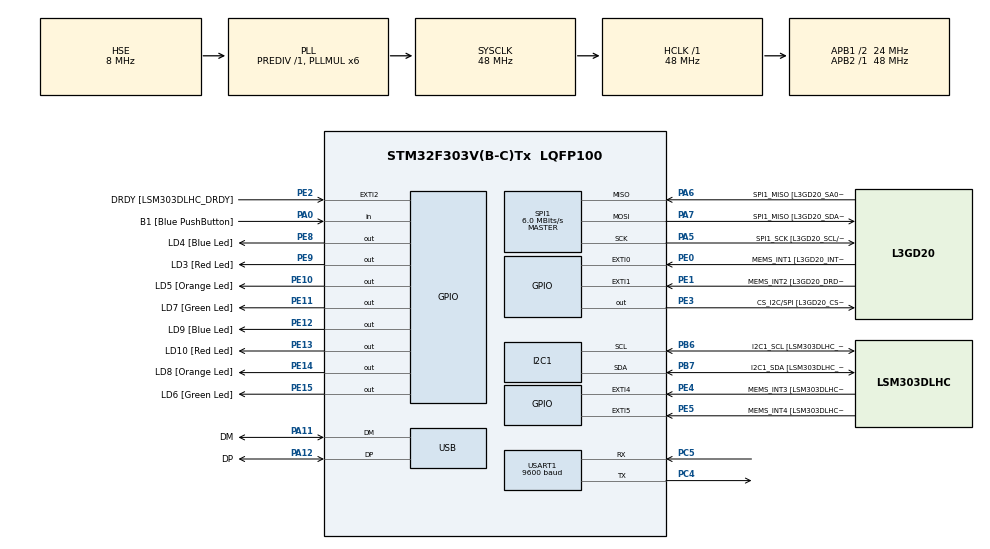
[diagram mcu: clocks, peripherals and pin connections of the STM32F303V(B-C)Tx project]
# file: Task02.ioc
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I2C1.Timing=0x2000090E
I2C1.Timing-I2C=0x2000090E
Mcu.Family=STM32F3
Mcu.Name=STM32F303V(B-C)Tx
Mcu.Package=LQFP100
NVIC.PriorityGroup=NVIC_PRIORITYGROUP_0
NVIC.SPI1_IRQn=true\:0\:0\:false\:false\:true\:true\:true\:true
NVIC.USB_LP_CAN_RX0_IRQn=true\:0\:0\:false\:false\:true\:false\:true\:true
PA0.GPIO_Label=B1 [Blue PushButton]
PA0.Signal=GPIO_Input
PA11.GPIO_Label=DM
PA11.Mode=Device
PA11.Signal=USB_DM
PA12.GPIO_Label=DP
PA12.Mode=Device
PA12.Signal=USB_DP
PA13.GPIO_Label=SWDIO
PA13.Mode=Serial_Wire
PA13.Signal=SYS_JTMS-SWDIO
PA14.GPIO_Label=SWCLK
PA14.Mode=Serial_Wire
PA14.Signal=SYS_JTCK-SWCLK
PA5.GPIO_Label=SPI1_SCK [L3GD20_SCL/SPC]
PA5.Mode=Full_Duplex_Master
PA5.Signal=SPI1_SCK
PA6.GPIO_Label=SPI1_MISO [L3GD20_SA0/SDO]
PA6.Mode=Full_Duplex_Master
PA6.Signal=SPI1_MISO
PA7.GPIO_Label=SPI1_MISO [L3GD20_SDA/SDI/SDO]
PA7.Mode=Full_Duplex_Master
PA7.Signal=SPI1_MOSI
PB3.GPIO_Label=SWO
PB3.Signal=SYS_JTDO-TRACESWO
PB6.GPIO_Label=I2C1_SCL [LSM303DLHC_SCL]
PB6.GPIO_Pu=GPIO_PULLUP
PB6.Mode=I2C
PB6.Signal=I2C1_SCL
PB7.GPIO_Label=I2C1_SDA [LSM303DLHC_SDA]
PB7.GPIO_Pu=GPIO_PULLUP
PB7.Mode=I2C
PB7.Signal=I2C1_SDA
PC14-OSC32_IN.GPIO_Label=OSC32_IN
PC14-OSC32_IN.Signal=RCC_OSC32_IN
PC15-OSC32_OUT.GPIO_Label=OSC32_OUT
PC15-OSC32_OUT.Signal=RCC_OSC32_OUT
PC4.Mode=Asynchronous
PC4.Signal=USART1_TX
PC5.Mode=Asynchronous
PC5.Signal=USART1_RX
PE0.GPIO_Label=MEMS_INT1 [L3GD20_INT1]
PE0.GPIO_ModeDefaultEXTI=GPIO_MODE_EVT_RISING
PE0.Signal=GPXTI0
PE1.GPIO_Label=MEMS_INT2 [L3GD20_DRDY/INT2]
PE1.GPIO_ModeDefaultEXTI=GPIO_MODE_EVT_RISING
PE1.Signal=GPXTI1
PE10.GPIO_Label=LD5 [Orange Led]
PE10.Signal=GPIO_Output
PE11.GPIO_Label=LD7 [Green Led]
PE11.Signal=GPIO_Output
PE12.GPIO_Label=LD9 [Blue Led]
PE12.Signal=GPIO_Output
PE13.GPIO_Label=LD10 [Red Led]
PE13.Signal=GPIO_Output
PE14.GPIO_Label=LD8 [Orange Led]
PE14.Signal=GPIO_Output
PE15.GPIO_Label=LD6 [Green Led]
PE15.Signal=GPIO_Output
PE2.GPIO_Label=DRDY [LSM303DLHC_DRDY]
PE2.GPIO_ModeDefaultEXTI=GPIO_MODE_EVT_RISING
PE2.Signal=GPXTI2
PE3.GPIO_Label=CS_I2C/SPI [L3GD20_CS_I2C/SPI]
PE3.Signal=GPIO_Output
PE4.GPIO_Label=MEMS_INT3 [LSM303DLHC_INT1]
PE4.GPIO_ModeDefaultEXTI=GPIO_MODE_EVT_RISING
PE4.Signal=GPXTI4
PE5.GPIO_Label=MEMS_INT4 [LSM303DLHC_INT2]
PE5.GPIO_ModeDefaultEXTI=GPIO_MODE_EVT_RISING
PE5.Signal=GPXTI5
PE8.GPIO_Label=LD4 [Blue Led]
PE8.Signal=GPIO_Output
PE9.GPIO_Label=LD3 [Red Led]
PE9.Signal=GPIO_Output
PF0-OSC_IN.GPIO_Label=OSC_IN
PF0-OSC_IN.Mode=HSE-External-Clock-Source
PF0-OSC_IN.Signal=RCC_OSC_IN
PF1-OSC_OUT.GPIO_Label=OSC_OUT
PF1-OSC_OUT.Signal=RCC_OSC_OUT
ProjectManager.HeapSize=0x200
ProjectManager.StackSize=0x400
ProjectManager.TargetToolchain=CMake
RCC.AHBFreq_Value=48000000
RCC.APB1CLKDivider=RCC_HCLK_DIV2
RCC.APB1Freq_Value=24000000
RCC.APB1TimFreq_Value=48000000
RCC.APB2Freq_Value=48000000
RCC.APB2TimFreq_Value=48000000
RCC.CortexFreq_Value=48000000
RCC.HCLKFreq_Value=48000000
RCC.HSE_VALUE=8000000
RCC.HSI_VALUE=8000000
RCC.LSE_VALUE=32768
RCC.PLLMUL=RCC_PLL_MUL6
RCC.SYSCLKFreq_VALUE=48000000
RCC.SYSCLKSourceVirtual=RCC_SYSCLKSOURCE_PLLCLK
RCC.USBFreq_Value=48000000
SPI1.BaudRatePrescaler=SPI_BAUDRATEPRESCALER_8
SPI1.BaudRatePrescaler-Full_Duplex_Master=SPI_BAUDRATEPRESCALER_2
SPI1.CalculateBaudRate=6.0 MBits/s
SPI1.CalculateBaudRate-Full_Duplex_Master=24.0 MBits/s
SPI1.DataSize=SPI_DATASIZE_8BIT
SPI1.Direction=SPI_DIRECTION_2LINES
SPI1.Mode=SPI_MODE_MASTER
SPI1.Mode-Full_Duplex_Master=SPI_MODE_MASTER
SPI1.NSSPMode=SPI_NSS_PULSE_DISABLE
SPI1.VirtualType=VM_MASTER
USART1.BaudRate=9600
USART1.VirtualMode-Asynchronous=VM_ASYNC
USB_DEVICE.CLASS_NAME_FS=CDC
USB_DEVICE.VirtualMode=Cdc
USB_DEVICE.VirtualModeFS=Cdc_FS
VP_USB_DEVICE_VS_USB_DEVICE_CDC_FS.Mode=CDC_FS
board=STM32F3DISCOVERY

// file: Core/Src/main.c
/* USER CODE BEGIN Header */
/**
  ******************************************************************************
  * @file           : main.c
  * @brief          : Main program body
  ******************************************************************************
  * @attention
  *
  * Copyright (c) 2025 STMicroelectronics.
  * All rights reserved.
  *
  * This software is licensed under terms that can be found in the LICENSE file
  * in the root directory of this software component.
  * If no LICENSE file comes with this software, it is provided AS-IS.
  *
  ******************************************************************************
  */
/* USER CODE END Header */
#include "main.h"
#include "usb_device.h"

/* USER CODE BEGIN PM */

#define CTRL_REG1     0x20              // Address of CTRL_REG1 in the gyro
#define CTRL_REG1_VAL 0b00001111        // Value: PD=1 (Power on), Xen/Yen/Zen=1 (enable all 3 axes)

/* USER CODE END PM */

I2C_HandleTypeDef hi2c1;

SPI_HandleTypeDef hspi1;

UART_HandleTypeDef huart1;

/* USER CODE BEGIN PV */

uint8_t spi_tx_buf;                     // Transmit buffer for SPI (holds command byte)
uint8_t spi_rx_buf;                     // Receive buffer for SPI (holds incoming data)
volatile uint8_t spi_done = 0;         // Flag to indicate that SPI transfer is complete (used in main loop)

/* USER CODE END PV */

void SystemClock_Config(void);
static void MX_GPIO_Init(void);
static void MX_I2C1_Init(void);
static void MX_SPI1_Init(void);
static void MX_USART1_UART_Init(void);

/* USER CODE BEGIN 0 */

// Sensor initialization:
void gyro_init()
{
    uint8_t tx[2] = { CTRL_REG1, CTRL_REG1_VAL };

    // 1. Pull CS (Chip Select) low to begin SPI communication
    HAL_GPIO_WritePin(GPIOE, GPIO_PIN_3, GPIO_PIN_RESET);

    // 2. Transmit 2 bytes using SPI in blocking mode:
    //    - tx[0] = Register address (0x20)
    //    - tx[1] = Data to write (0x0F) => Enables axes and powers on sensor
    // HAL_SPI_Transmit blocks until the transfer completes.
    HAL_SPI_Transmit(&hspi1, tx, 2, HAL_MAX_DELAY);

    // 3. Pull CS high to end SPI communication
    HAL_GPIO_WritePin(GPIOE, GPIO_PIN_3, GPIO_PIN_SET);
}

void gyro_read_temp_IT(uint8_t reg)
{
    spi_done = 0;                          // Reset the transfer complete flag

    // Set bit 7 = 1 to indicate SPI read operation
    spi_tx_buf = 0x80 | reg;              // Example: 0x80 | 0x26 = 0xA6 for OUT_TEMP read

    // Pull CS low to start SPI communication
    HAL_GPIO_WritePin(GPIOE, GPIO_PIN_3, GPIO_PIN_RESET);

    // Begin SPI transmit of the register address in interrupt mode.
    // Once it completes, HAL will call HAL_SPI_TxCpltCallback().
    HAL_SPI_Transmit_IT(&hspi1, &spi_tx_buf, 1);
}

/* USER CODE END 0 */

int main(void)
{

  /* MCU Configuration--------------------------------------------------------*/

  /* Reset of all peripherals, Initializes the Flash interface and the Systick. */
  HAL_Init();

  /* Configure the system clock */
  SystemClock_Config();

  /* Initialize all configured peripherals */
  MX_GPIO_Init();
  MX_I2C1_Init();
  MX_SPI1_Init();
  MX_USART1_UART_Init();
  MX_USB_DEVICE_Init();

  /* USER CODE BEGIN 2 */

  gyro_init();  // One-time initialization to power on the gyro

  /* USER CODE END 2 */

  /* Infinite loop */
  /* USER CODE BEGIN WHILE */
  gyro_init();  // One-time initialization to power on the gyro

while (1)
{
    // Start reading the temperature register (0x26)
    gyro_read_temp_IT(0x26);

    // Wait for the interrupt-based SPI read to complete
    if (spi_done)
    {
        spi_done = 0;  // Reset for next loop

        // Convert the received byte to signed 8-bit temperature
        int8_t temperature = (int8_t)spi_rx_buf;

        // Format the temperature reading into a string
        char msg[32];
        sprintf(msg, "%d\r\n", temperature);

        // Transmit the string over UART1
        // HAL_UART_Transmit blocks until the full string is sent
        HAL_UART_Transmit(&huart1, (uint8_t *)msg, strlen(msg), HAL_MAX_DELAY);

        // Wait 1 second before next read
        HAL_Delay(1000);
    }
}

  /* USER CODE END 3 */
}

void SystemClock_Config(void)
{
  RCC_OscInitTypeDef RCC_OscInitStruct = {0};
  RCC_ClkInitTypeDef RCC_ClkInitStruct = {0};
  RCC_PeriphCLKInitTypeDef PeriphClkInit = {0};

  /** Initializes the RCC Oscillators according to the specified parameters
  * in the RCC_OscInitTypeDef structure.
  */
  RCC_OscInitStruct.OscillatorType = RCC_OSCILLATORTYPE_HSI|RCC_OSCILLATORTYPE_HSE;
  RCC_OscInitStruct.HSEState = RCC_HSE_BYPASS;
  RCC_OscInitStruct.HSEPredivValue = RCC_HSE_PREDIV_DIV1;
  RCC_OscInitStruct.HSIState = RCC_HSI_ON;
  RCC_OscInitStruct.HSICalibrationValue = RCC_HSICALIBRATION_DEFAULT;
  RCC_OscInitStruct.PLL.PLLState = RCC_PLL_ON;
  RCC_OscInitStruct.PLL.PLLSource = RCC_PLLSOURCE_HSE;
  RCC_OscInitStruct.PLL.PLLMUL = RCC_PLL_MUL6;
  if (HAL_RCC_OscConfig(&RCC_OscInitStruct) != HAL_OK)
  {
    Error_Handler();
  }

  /** Initializes the CPU, AHB and APB buses clocks
  */
  RCC_ClkInitStruct.ClockType = RCC_CLOCKTYPE_HCLK|RCC_CLOCKTYPE_SYSCLK
                              |RCC_CLOCKTYPE_PCLK1|RCC_CLOCKTYPE_PCLK2;
  RCC_ClkInitStruct.SYSCLKSource = RCC_SYSCLKSOURCE_PLLCLK;
  RCC_ClkInitStruct.AHBCLKDivider = RCC_SYSCLK_DIV1;
  RCC_ClkInitStruct.APB1CLKDivider = RCC_HCLK_DIV2;
  RCC_ClkInitStruct.APB2CLKDivider = RCC_HCLK_DIV1;

  if (HAL_RCC_ClockConfig(&RCC_ClkInitStruct, FLASH_LATENCY_1) != HAL_OK)
  {
    Error_Handler();
  }
  PeriphClkInit.PeriphClockSelection = RCC_PERIPHCLK_USB|RCC_PERIPHCLK_USART1
                              |RCC_PERIPHCLK_I2C1;
  PeriphClkInit.Usart1ClockSelection = RCC_USART1CLKSOURCE_PCLK2;
  PeriphClkInit.I2c1ClockSelection = RCC_I2C1CLKSOURCE_HSI;
  PeriphClkInit.USBClockSelection = RCC_USBCLKSOURCE_PLL;
  if (HAL_RCCEx_PeriphCLKConfig(&PeriphClkInit) != HAL_OK)
  {
    Error_Handler();
  }
}

static void MX_I2C1_Init(void)
{

  hi2c1.Instance = I2C1;
  hi2c1.Init.Timing = 0x2000090E;
  hi2c1.Init.OwnAddress1 = 0;
  hi2c1.Init.AddressingMode = I2C_ADDRESSINGMODE_7BIT;
  hi2c1.Init.DualAddressMode = I2C_DUALADDRESS_DISABLE;
  hi2c1.Init.OwnAddress2 = 0;
  hi2c1.Init.OwnAddress2Masks = I2C_OA2_NOMASK;
  hi2c1.Init.GeneralCallMode = I2C_GENERALCALL_DISABLE;
  hi2c1.Init.NoStretchMode = I2C_NOSTRETCH_DISABLE;
  if (HAL_I2C_Init(&hi2c1) != HAL_OK)
  {
    Error_Handler();
  }

  /** Configure Analogue filter
  */
  if (HAL_I2CEx_ConfigAnalogFilter(&hi2c1, I2C_ANALOGFILTER_ENABLE) != HAL_OK)
  {
    Error_Handler();
  }

  /** Configure Digital filter
  */
  if (HAL_I2CEx_ConfigDigitalFilter(&hi2c1, 0) != HAL_OK)
  {
    Error_Handler();
  }

}

static void MX_SPI1_Init(void)
{

  /* SPI1 parameter configuration*/
  hspi1.Instance = SPI1;
  hspi1.Init.Mode = SPI_MODE_MASTER;
  hspi1.Init.Direction = SPI_DIRECTION_2LINES;
  hspi1.Init.DataSize = SPI_DATASIZE_8BIT;
  hspi1.Init.CLKPolarity = SPI_POLARITY_LOW;
  hspi1.Init.CLKPhase = SPI_PHASE_1EDGE;
  hspi1.Init.NSS = SPI_NSS_SOFT;
  hspi1.Init.BaudRatePrescaler = SPI_BAUDRATEPRESCALER_8;
  hspi1.Init.FirstBit = SPI_FIRSTBIT_MSB;
  hspi1.Init.TIMode = SPI_TIMODE_DISABLE;
  hspi1.Init.CRCCalculation = SPI_CRCCALCULATION_DISABLE;
  hspi1.Init.CRCPolynomial = 7;
  hspi1.Init.CRCLength = SPI_CRC_LENGTH_DATASIZE;
  hspi1.Init.NSSPMode = SPI_NSS_PULSE_DISABLE;
  if (HAL_SPI_Init(&hspi1) != HAL_OK)
  {
    Error_Handler();
  }

}

static void MX_USART1_UART_Init(void)
{

  huart1.Instance = USART1;
  huart1.Init.BaudRate = 9600;
  huart1.Init.WordLength = UART_WORDLENGTH_8B;
  huart1.Init.StopBits = UART_STOPBITS_1;
  huart1.Init.Parity = UART_PARITY_NONE;
  huart1.Init.Mode = UART_MODE_TX_RX;
  huart1.Init.HwFlowCtl = UART_HWCONTROL_NONE;
  huart1.Init.OverSampling = UART_OVERSAMPLING_16;
  huart1.Init.OneBitSampling = UART_ONE_BIT_SAMPLE_DISABLE;
  huart1.AdvancedInit.AdvFeatureInit = UART_ADVFEATURE_NO_INIT;
  if (HAL_UART_Init(&huart1) != HAL_OK)
  {
    Error_Handler();
  }

}

static void MX_GPIO_Init(void)
{
  GPIO_InitTypeDef GPIO_InitStruct = {0};

  /* GPIO Ports Clock Enable */
  __HAL_RCC_GPIOE_CLK_ENABLE();
  __HAL_RCC_GPIOC_CLK_ENABLE();
  __HAL_RCC_GPIOF_CLK_ENABLE();
  __HAL_RCC_GPIOA_CLK_ENABLE();
  __HAL_RCC_GPIOB_CLK_ENABLE();

  /*Configure GPIO pin Output Level */
  HAL_GPIO_WritePin(GPIOE, CS_I2C_SPI_Pin|LD4_Pin|LD3_Pin|LD5_Pin
                          |LD7_Pin|LD9_Pin|LD10_Pin|LD8_Pin
                          |LD6_Pin, GPIO_PIN_RESET);

  /*Configure GPIO pins : DRDY_Pin MEMS_INT3_Pin MEMS_INT4_Pin MEMS_INT1_Pin
                           MEMS_INT2_Pin */
  GPIO_InitStruct.Pin = DRDY_Pin|MEMS_INT3_Pin|MEMS_INT4_Pin|MEMS_INT1_Pin
                          |MEMS_INT2_Pin;
  GPIO_InitStruct.Mode = GPIO_MODE_EVT_RISING;
  GPIO_InitStruct.Pull = GPIO_NOPULL;
  HAL_GPIO_Init(GPIOE, &GPIO_InitStruct);

  /*Configure GPIO pins : CS_I2C_SPI_Pin LD4_Pin LD3_Pin LD5_Pin
                           LD7_Pin LD9_Pin LD10_Pin LD8_Pin
                           LD6_Pin */
  GPIO_InitStruct.Pin = CS_I2C_SPI_Pin|LD4_Pin|LD3_Pin|LD5_Pin
                          |LD7_Pin|LD9_Pin|LD10_Pin|LD8_Pin
                          |LD6_Pin;
  GPIO_InitStruct.Mode = GPIO_MODE_OUTPUT_PP;
  GPIO_InitStruct.Pull = GPIO_NOPULL;
  GPIO_InitStruct.Speed = GPIO_SPEED_FREQ_LOW;
  HAL_GPIO_Init(GPIOE, &GPIO_InitStruct);

  /*Configure GPIO pin : B1_Pin */
  GPIO_InitStruct.Pin = B1_Pin;
  GPIO_InitStruct.Mode = GPIO_MODE_INPUT;
  GPIO_InitStruct.Pull = GPIO_NOPULL;
  HAL_GPIO_Init(B1_GPIO_Port, &GPIO_InitStruct);

}

/* USER CODE BEGIN 4 */

void HAL_SPI_TxCpltCallback(SPI_HandleTypeDef *hspi)
{
    if (hspi->Instance == SPI1)  // Make sure this interrupt is for SPI1
    {
        // Now that we've sent the address byte, read 1 byte of response from sensor
        // HAL will call HAL_SPI_RxCpltCallback() when done
        HAL_SPI_Receive_IT(&hspi1, &spi_rx_buf, 1);
    }
}

void HAL_SPI_RxCpltCallback(SPI_HandleTypeDef *hspi)
{
    if (hspi->Instance == SPI1)
    {
        // SPI receive completed — pull CS high to finish SPI transaction
        HAL_GPIO_WritePin(GPIOE, GPIO_PIN_3, GPIO_PIN_SET);

        // Set flag to let main loop know that data is ready
        spi_done = 1;
    }
}

/* USER CODE END 4 */

void Error_Handler(void)
{
  __disable_irq();
  while (1)
  {
  }
}
